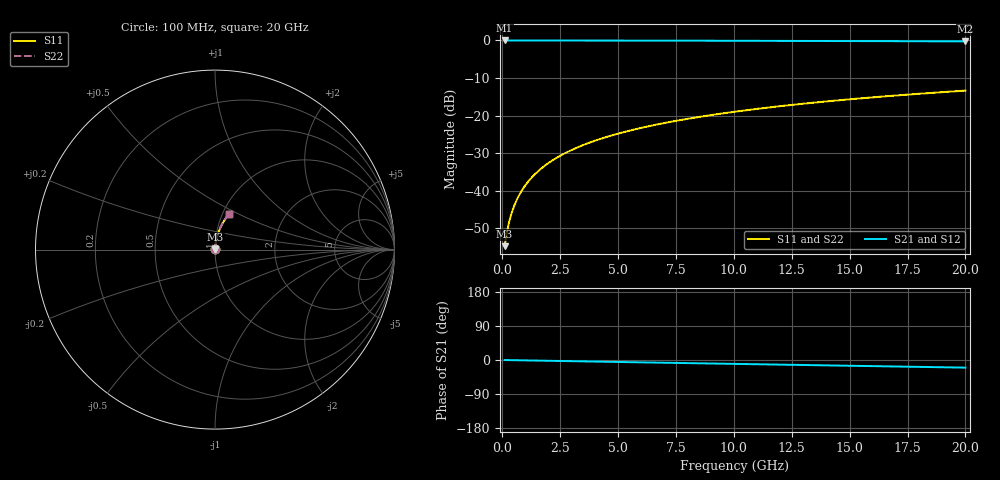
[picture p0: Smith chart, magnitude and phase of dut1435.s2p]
! Touchstone file exported from HFSS 2026.1.0
!  File:  C:/ffzhzh/LocalFiles/Ansys_Project_Files/temp_train_BSMRDL_1435_1783180461_51560.aedt
!  Generated:  11:55:33 PM Jul  4, 2026
!  Design:  BSMRDL
!  Project:  temp_train_BSMRDL_1435_1783180461_51560
! Variables:
!  h_bsmrdl = 5.01um
!  h_ox = 20um
!  h_rdl = 5um
!  h_sub = 80um
!  h_tmrdl = 5um
!  h_tsv = 80um
!  h_via = 3um
!  l_bsmrdl = 257.98um
!  l_sub = 657.98um
!  l_tmrdl = 200um
!  m_sub = 200um
!  pitch = 41.35um
!  r_tsv = 6um
!  s_tmrdl = 10um
!  w_bsmrdl = 14.71um
!  w_sub = 500um
!  w_tmrdl = 12um
!  x_tsv_center1 = 206um
!  x_tsv_center2 = 478.69um
!  x_tsv_center3 = 690.69um
!  x_tsv_center4 = 963.38um
!  x_tsv_center5 = 1175.38um
!  x_tsv_center6 = 1448.07um
# GHz S MA R 50.000000
! Terminal data exported
! Port[1] = BSM_RDL1_1_T1
! Port[2] = BSM_RDL1_1_T2
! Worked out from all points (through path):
!   200 points, 100 MHz to 20 GHz, reference 50 ohm
!   highest |S21| = -0.01 dB at 100 MHz (marker M1); lowest = -0.3 dB at 20 GHz (marker M2)
!   group delay of S21, straight-line fit = 2.79 ps
!   lowest |S11| = -54.7 dB at 100 MHz (marker M3), VSWR 1.00, Z = 50.1 + j0.124 ohm
!   |S11| at or under -10 dB: start of sweep to end of sweep
!   |S22| runs from -54.7 to -13.4 dB; largest |S21 - S12| = 3.1e-15
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0.1  0.001836 42.3  0.9986 -0.1  0.9986 -0.1  0.001836 42.3
! Gamma 0 0 0 0
! Port Impedance 50 0 50 0
0.2  0.002818 60.0  0.9986 -0.2  0.9986 -0.2  0.002818 60.0
0.3  0.003904 67.9  0.9985 -0.3  0.9985 -0.3  0.003904 67.9
0.4  0.005019 72.4  0.9985 -0.4  0.9985 -0.4  0.005019 72.4
0.5  0.006149 75.3  0.9985 -0.5  0.9985 -0.5  0.006149 75.3
0.6  0.007288 77.2  0.9984 -0.6  0.9984 -0.6  0.007289 77.2
0.8  0.009586 79.7  0.9984 -0.8  0.9984 -0.8  0.009586 79.7
1.1  0.01306 81.7  0.9983 -1.2  0.9983 -1.2  0.01306 81.7
1.5  0.01769 82.8  0.9981 -1.6  0.9981 -1.6  0.01769 82.8
1.8  0.02117 83.2  0.998 -1.9  0.998 -1.9  0.02117 83.2
2.1  0.02464 83.4  0.9978 -2.2  0.9978 -2.2  0.02464 83.4
2.7  0.03155 83.4  0.9974 -2.8  0.9974 -2.8  0.03155 83.4
3.5  0.04068 83.0  0.9968 -3.7  0.9968 -3.7  0.04068 83.0
4.2  0.0486 82.5  0.9962 -4.4  0.9962 -4.4  0.0486 82.5
5  0.05757 81.8  0.9954 -5.2  0.9954 -5.2  0.05757 81.8
5.9  0.06758 81.1  0.9944 -6.1  0.9944 -6.1  0.06758 81.1
6.8  0.0775 80.3  0.9934 -7.0  0.9934 -7.0  0.0775 80.3
8.3  0.09388 79.0  0.9915 -8.6  0.9915 -8.6  0.09388 79.0
10.1  0.1133 77.3  0.9891 -10.4  0.9891 -10.4  0.1133 77.3
13.4  0.1482 74.3  0.9838 -13.7  0.9838 -13.7  0.1482 74.3
16.7  0.1821 71.3  0.9775 -16.9  0.9775 -16.9  0.1821 71.3
20  0.215 68.2  0.9704 -20.1  0.9704 -20.1  0.215 68.2
